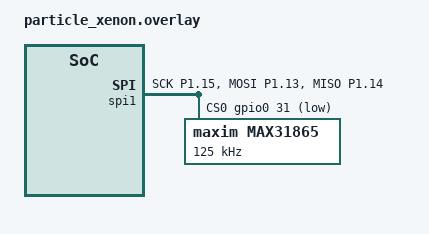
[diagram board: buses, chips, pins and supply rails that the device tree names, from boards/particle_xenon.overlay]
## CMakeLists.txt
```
# SPDX-License-Identifier: Apache-2.0

cmake_minimum_required(VERSION 3.20.0)
find_package(Zephyr REQUIRED HINTS $ENV{ZEPHYR_BASE})
project(max31865)

FILE(GLOB app_sources src/*.c)
target_sources(app PRIVATE ${app_sources})
```

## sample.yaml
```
sample:
  name: MAX31865 temperature sensor
tests:
  sample.sensor.max31865:
    harness: sensor
    tags: samples sensors
    depends_on: spi
    filter: dt_compat_enabled("maxim,max31865")
    integration_platforms:
      - particle_xenon
```

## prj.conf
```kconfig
CONFIG_PRINTK=y
CONFIG_CONSOLE=y
CONFIG_NEWLIB_LIBC=y
CONFIG_SENSOR=y
CONFIG_LOG=y
```

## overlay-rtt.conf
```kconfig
CONFIG_USE_SEGGER_RTT=y
CONFIG_RTT_CONSOLE=y
CONFIG_UART_CONSOLE=n
CONFIG_SERIAL=n
```

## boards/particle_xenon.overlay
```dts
&pinctrl {
	spi1_default: spi1_default {
		group1 {
			psels = <NRF_PSEL(SPIM_SCK, 1, 15)>,
				<NRF_PSEL(SPIM_MOSI, 1, 13)>,
				<NRF_PSEL(SPIM_MISO, 1, 14)>;
		};
	};

	spi1_sleep: spi1_sleep {
		group1 {
			psels = <NRF_PSEL(SPIM_SCK, 1, 15)>,
				<NRF_PSEL(SPIM_MOSI, 1, 13)>,
				<NRF_PSEL(SPIM_MISO, 1, 14)>;
			low-power-enable;
		};
	};
};

feather_spi: &spi1 { /* feather SPI */
	compatible = "nordic,nrf-spim";
	status = "okay";
	pinctrl-0 = <&spi1_default>;
	pinctrl-1 = <&spi1_sleep>;
	pinctrl-names = "default", "sleep";
	cs-gpios = <&gpio0 31 GPIO_ACTIVE_LOW>;

        max31865: spi_max31865@0 {
				compatible = "maxim,max31865";
				reg = <0x0>;
				spi-max-frequency = <125000>;
				resistance-at-zero = <100>;
				resistance-reference = <430>;
				low-threshold = <6579>;
				high-threshold = <32767>;
				filter-50hz;

        };

};

&spi2{
	status = "disabled";

};

&uart0{
	status = "disabled";

};
&uart1{
	status = "disabled";

};
```

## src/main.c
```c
/*
 * Copyright (c) 2022 HAW Hamburg FTZ-DIWIP
 *
 * SPDX-License-Identifier: Apache-2.0
 */
#include <zephyr/kernel.h>
#include <zephyr/device.h>
#include <zephyr/drivers/sensor.h>
#include <zephyr/sys/printk.h>

union sensor_val {
	struct sensor_value str;
	uint64_t wert;

};

void main(void)
{
	k_msleep(1000);

	const struct device *max_sensor = DEVICE_DT_GET_ANY(maxim_max31865);
	union sensor_val sv;
	int r;

	while (1) {

		r = sensor_sample_fetch(max_sensor);
		if (r != 0) {
			continue;
		}
		sensor_channel_get(max_sensor, SENSOR_CHAN_AMBIENT_TEMP, &sv.str);

		printk("TEMP: %d.%06d\n", sv.str.val1, sv.str.val2);

		sv.wert = 0;
		k_msleep(1000);
	}
}
```
